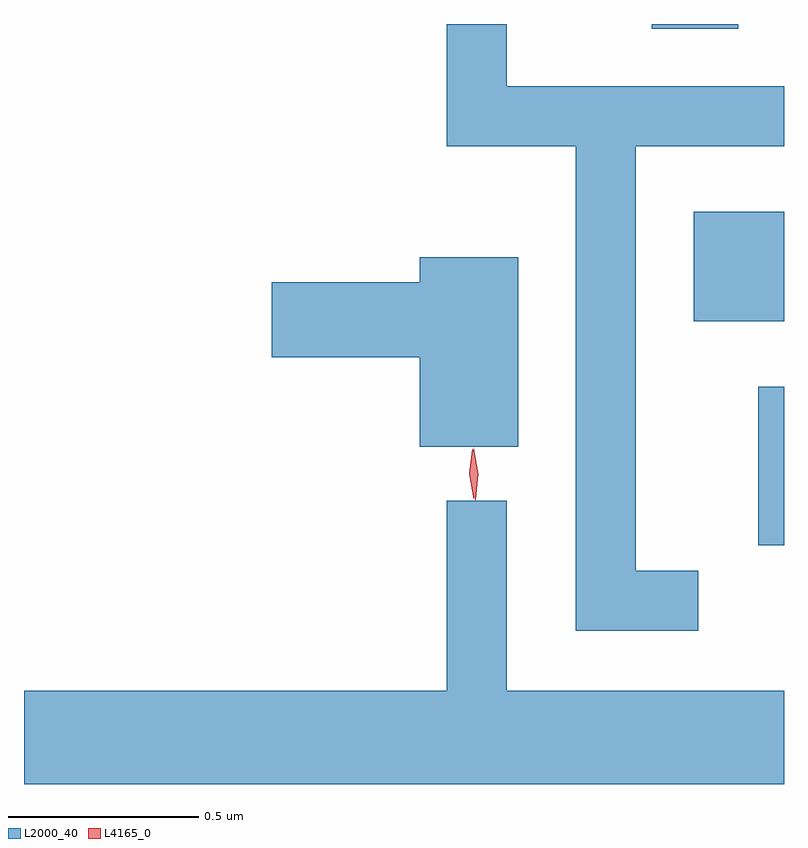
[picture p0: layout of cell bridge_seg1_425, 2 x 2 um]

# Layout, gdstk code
import gdstk
lib = gdstk.Library(unit=1e-6, precision=1e-09)
def R(c, l, rs):  # rectangles x0, y0, x1, y1
    for r in rs: c.add(gdstk.rectangle(r[:2], r[2:], *l))
def P(c, l, *ps):  # polygons
    for p in ps: c.add(gdstk.Polygon(p, *l))
L2000_40 = (2000, 40)
L4165_0 = (4165, 0)

bridge_seg1_425 = lib.new_cell('bridge_seg1_425')
R(bridge_seg1_425, L2000_40, [(373.056,951.286,373.124,951.703), (372.886,951.876,373.124,952.164), (372.776,952.646,373.004,952.658)])
P(bridge_seg1_425, L2000_40, [(372.898,951.219),(372.734,951.219),(372.734,952.336),(373.124,952.336),(373.124,952.494),(372.394,952.494),(372.394,952.658),(372.236,952.658),(372.236,952.336),(372.576,952.336),(372.576,951.061),(372.898,951.061)],
  [(372.424,952.044),(372.166,952.044),(372.166,951.979),(371.776,951.979),(371.776,951.781),(372.166,951.781),(372.166,951.546),(372.424,951.546)],
  [(373.124,950.904),(372.394,950.904),(372.394,951.403),(372.236,951.403),(372.236,950.904),(371.124,950.904),(371.124,950.658),(373.124,950.658)])
P(bridge_seg1_425, L4165_0, [(372.307,951.408),(372.307,951.408),(372.296,951.474),(372.304,951.539),(372.305,951.539),(372.305,951.539),(372.316,951.474),(372.308,951.408)],
  [(372.313,951.405),(372.312,951.406),(372.3,951.473),(372.307,951.542),(372.307,951.542),(372.308,951.542),(372.32,951.474),(372.313,951.406)])

lib.write_gds('bridge_seg1_425.gds')
